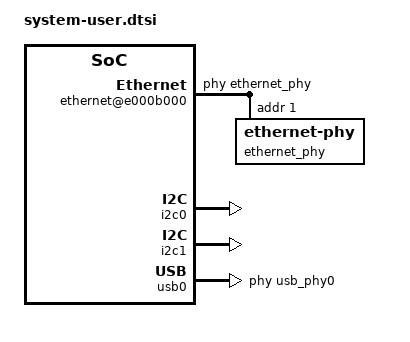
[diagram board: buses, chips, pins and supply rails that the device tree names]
/include/ "system-conf.dtsi"
/ {
	amba {

		audio0:audio-codec-ctrl@43c00000 {
			compatible = "xlnk,audio-codec-ctrl-1.0";
			reg = <0x43c00000 0x10000>;
		};

		ethernet@e000b000 {
			phy-handle = <&ethernet_phy>;
			ethernet_phy: ethernet-phy@1{
				reg = <1>;
			};
		};
	};
        usb_phy0: phy0 {
                compatible = "ulpi-phy";
                #phy-cells = <0>;
                reg = <0xe0002000 0x1000>;
                view-port = <0x170>;
                drv-vbus;
        };
};

&i2c0 {
	status = "okay";
};

&i2c1 {
	status = "okay";
};

&audio0 {
		compatible = "generic-uio";
};

&usb0 {
        usb-phy = <&usb_phy0>;
};



nv_nvdla_wrapper_0: nv_nvdla_wrapper@a0000000 {
compatible = " xlnx , nv_nvdla_wrapper_v1_0";
interrupt-parent = < &gic >;
interrupts = <0 89 4 >;
reg = <0x0 0xa0000000 0x0 0x10000 >;
}

&nv_nvdla_wrapper_0 {
compatible= "nvidia , nvdla_2";
}

reserved-memory {
#address-cells = <2 >;
#size-cells = <2 >;
ranges ;

reserved: buffer@0 {
no-map ;
reg = <0x0 0 x40000000 0 x0 0x40000000 >;
};
};
